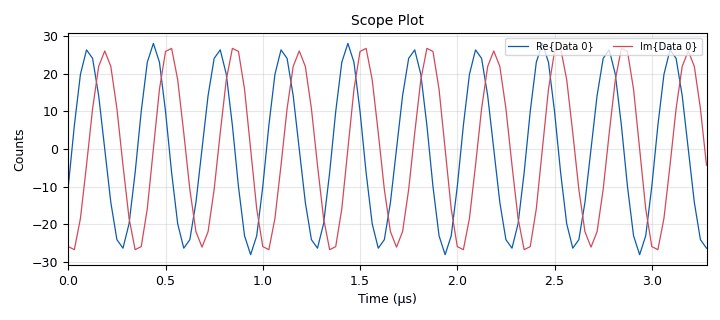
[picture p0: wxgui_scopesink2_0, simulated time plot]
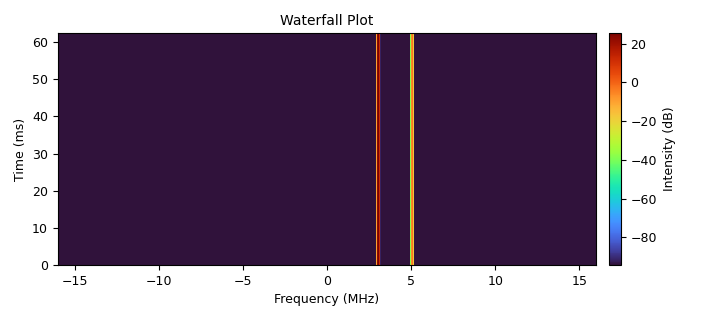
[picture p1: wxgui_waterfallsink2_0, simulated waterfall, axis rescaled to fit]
<?xml version='1.0' encoding='utf-8'?>
<?grc format='1' created='3.7.13'?>
<flow_graph>
<block>
<key>options</key>
<param><key>id</key><value>top_block</value></param>
<param><key>generate_options</key><value>wx_gui</value></param>
</block>
<block>
<key>variable</key>
<param><key>id</key><value>frequency_0</value></param>
<param><key>value</key><value>3e6</value></param>
</block>
<block>
<key>variable</key>
<param><key>id</key><value>frequency_1</value></param>
<param><key>value</key><value>5e6</value></param>
</block>
<block>
<key>variable</key>
<param><key>id</key><value>sample_rate</value></param>
<param><key>value</key><value>32e6</value></param>
</block>
<block>
<key>variable</key>
<param><key>id</key><value>zmq_address</value></param>
<param><key>value</key><value>"tcp://127.0.0.1:5557"</value></param>
</block>
<block>
<key>analog_sig_source_x</key>
<param><key>id</key><value>analog_sig_source_x_0</value></param>
<param><key>amp</key><value>27</value></param>
<param><key>freq</key><value>frequency_0</value></param>
<param><key>offset</key><value>0</value></param>
<param><key>type</key><value>complex</value></param>
<param><key>samp_rate</key><value>sample_rate</value></param>
<param><key>waveform</key><value>analog.GR_COS_WAVE</value></param>
</block>
<block>
<key>analog_sig_source_x</key>
<param><key>id</key><value>analog_sig_source_x_1</value></param>
<param><key>amp</key><value>1</value></param>
<param><key>freq</key><value>frequency_1</value></param>
<param><key>offset</key><value>0</value></param>
<param><key>type</key><value>complex</value></param>
<param><key>samp_rate</key><value>sample_rate</value></param>
<param><key>waveform</key><value>analog.GR_COS_WAVE</value></param>
</block>
<block>
<key>blocks_add_xx</key>
<param><key>id</key><value>blocks_add_xx_0</value></param>
<param><key>type</key><value>complex</value></param>
</block>
<block>
<key>blocks_throttle</key>
<param><key>id</key><value>blocks_throttle_0</value></param>
<param><key>samples_per_second</key><value>sample_rate</value></param>
<param><key>type</key><value>complex</value></param>
</block>
<block>
<key>wxgui_scopesink2</key>
<param><key>id</key><value>wxgui_scopesink2_0</value></param>
<param><key>ac_couple</key><value>False</value></param>
<param><key>num_inputs</key><value>1</value></param>
<param><key>samp_rate</key><value>sample_rate</value></param>
<param><key>t_scale</key><value>0</value></param>
<param><key>title</key><value>Scope Plot</value></param>
<param><key>trig_mode</key><value>wxgui.TRIG_MODE_AUTO</value></param>
<param><key>type</key><value>complex</value></param>
<param><key>v_offset</key><value>0</value></param>
<param><key>v_scale</key><value>0</value></param>
<param><key>xy_mode</key><value>False</value></param>
<param><key>y_axis_label</key><value>Counts</value></param>
</block>
<block>
<key>wxgui_waterfallsink2</key>
<param><key>id</key><value>wxgui_waterfallsink2_0</value></param>
<param><key>avg_alpha</key><value>0</value></param>
<param><key>average</key><value>False</value></param>
<param><key>baseband_freq</key><value>0</value></param>
<param><key>dynamic_range</key><value>100</value></param>
<param><key>fft_rate</key><value>15</value></param>
<param><key>fft_size</key><value>1024</value></param>
<param><key>freqvar</key><value>None</value></param>
<param><key>ref_scale</key><value>2.0</value></param>
<param><key>ref_level</key><value>0</value></param>
<param><key>samp_rate</key><value>sample_rate</value></param>
<param><key>title</key><value>Waterfall Plot</value></param>
<param><key>type</key><value>complex</value></param>
<param><key>win</key><value>None</value></param>
</block>
<connection><source_block_id>analog_sig_source_x_0</source_block_id><sink_block_id>blocks_add_xx_0</sink_block_id><source_key>0</source_key><sink_key>0</sink_key></connection>
<connection><source_block_id>analog_sig_source_x_1</source_block_id><sink_block_id>blocks_add_xx_0</sink_block_id><source_key>0</source_key><sink_key>1</sink_key></connection>
<connection><source_block_id>blocks_add_xx_0</source_block_id><sink_block_id>blocks_throttle_0</sink_block_id><source_key>0</source_key><sink_key>0</sink_key></connection>
<connection><source_block_id>blocks_throttle_0</source_block_id><sink_block_id>wxgui_scopesink2_0</sink_block_id><source_key>0</source_key><sink_key>0</sink_key></connection>
<connection><source_block_id>blocks_throttle_0</source_block_id><sink_block_id>wxgui_waterfallsink2_0</sink_block_id><source_key>0</source_key><sink_key>0</sink_key></connection>
</flow_graph>
